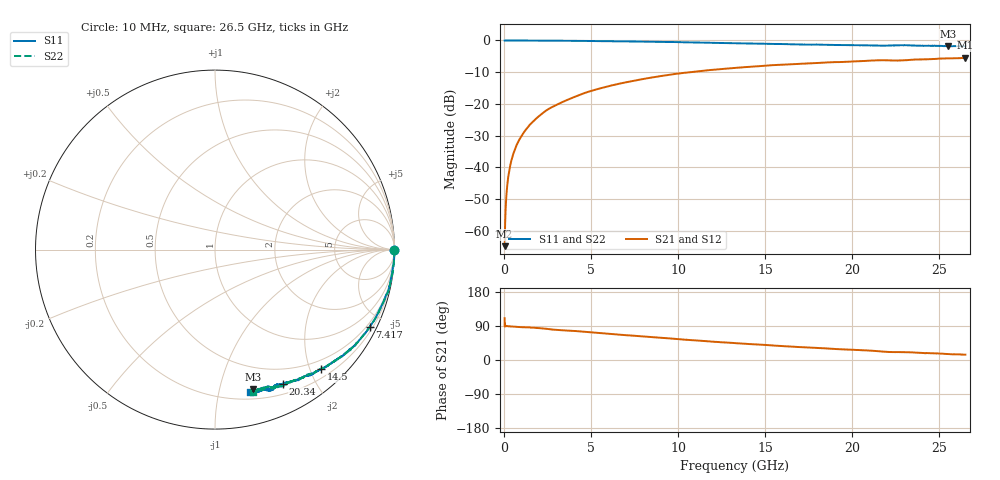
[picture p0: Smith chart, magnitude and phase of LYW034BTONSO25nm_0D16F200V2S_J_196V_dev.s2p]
!Keysight Technologies,N5222B,MY61253708,A.15.00.15
!Date: Wednesday, June 19, 2024 10:40:50
!Correction: S11(C  2-Port  )
!S21(C  2-Port  )
!S12(C  2-Port  )
!S22(C  2-Port  )
!S2P File: Measurements: S11, S21, S12, S22:
# Hz S  RI  R 50
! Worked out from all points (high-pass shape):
!   2651 points, 10 MHz to 26.5 GHz, reference 50 ohm
!   highest |S21| = -5.46 dB at 26.5 GHz (marker M1); lowest = -64.8 dB at 10 MHz (marker M2)
!   |S21| within 3 dB of the highest: 13.7 GHz to end of sweep
!   lowest |S11| = -1.9 dB at 25.5 GHz (marker M3), VSWR 9.36, Z = 14.3 - j63.6 ohm
!   |S11| at or under -10 dB: nowhere
!   |S22| runs from -1.8 to 0.0 dB; largest |S21 - S12| = 0.0069
!   S11 on the Smith chart (normalised r, x): 10 MHz: open; 7.417 GHz: 0.34, -4.20; 14.5 GHz: 0.34, -2.19; 20.34 GHz: 0.32, -1.59; 26.5 GHz: 0.26, -1.24
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1e7  0.9981 -0.00353  -0.000198 0.000541  8.53e-05 0.000252  0.9985 -0.0017
7.997358e7  0.9999 -0.0057  5.68e-05 0.00256  -2.32e-05 0.00256  0.9995 -0.00512
1.599434e8  0.9999 -0.0112  4.23e-05 0.00518  3.84e-05 0.00518  0.9998 -0.0103
1.999283e8  0.9999 -0.0133  9.49e-05 0.00643  8.11e-05 0.00646  0.9998 -0.0125
2.499094e8  0.9995 -0.0168  0.000145 0.00805  0.000161 0.00807  0.9995 -0.0158
3.498717e8  0.9997 -0.0235  0.000272 0.0112  0.000238 0.0113  0.9998 -0.0223
4.798226e8  0.9986 -0.032  0.000494 0.0154  0.00044 0.0155  0.9981 -0.0307
6.397623e8  0.9986 -0.0417  0.000819 0.0205  0.000863 0.0206  0.9985 -0.0401
8.296906e8  0.9979 -0.0542  0.00139 0.0265  0.0014 0.0266  0.9981 -0.053
1.449457e9  0.9911 -0.0955  0.00325 0.0467  0.0033 0.0467  0.9934 -0.0912
2.329125e9  0.9825 -0.1488  0.00937 0.0757  0.00951 0.076  0.9839 -0.1484
3.218789e9  0.9721 -0.2043  0.0201 0.1016  0.0202 0.1019  0.9734 -0.2022
4.428332e9  0.9452 -0.2754  0.0364 0.1382  0.0366 0.1386  0.9474 -0.2716
7.417204e9  0.8616 -0.432  0.1009 0.2082  0.102 0.2083  0.864 -0.4284
8.846664e9  0.811 -0.4961  0.1391 0.2329  0.1401 0.233  0.8137 -0.4925
1.3255e10  0.6393 -0.6384  0.2634 0.2595  0.2651 0.2589  0.6453 -0.635
1.450453e10  0.5926 -0.6659  0.2949 0.2566  0.2966 0.2558  0.5984 -0.6601
1.767333e10  0.4692 -0.7215  0.3691 0.2349  0.3718 0.2331  0.4826 -0.7171
2.034232e10  0.3798 -0.7465  0.4224 0.2079  0.4234 0.2054  0.3975 -0.7451
2.209166e10  0.3342 -0.758  0.453 0.1756  0.4542 0.1729  0.3317 -0.7629
2.550038e10  0.2141 -0.7781  0.5034 0.1403  0.5043 0.1401  0.2383 -0.7798
2.65e10  0.1947 -0.7931  0.5171 0.1296  0.5159 0.1257  0.2119 -0.7907
